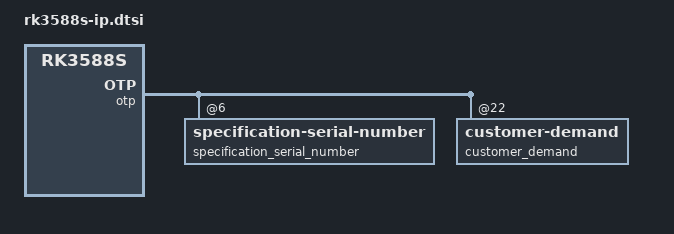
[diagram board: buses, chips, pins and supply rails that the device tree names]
/*
 * Copyright (c) 2021 Rockchip Electronics Co., Ltd.
 * Copyright (c) 2025 jjm2473 <jjm2473@gmail.com>
 */

/{
	rockchip_system_monitor: rockchip-system-monitor {
		compatible = "rockchip,system-monitor";

		rockchip,thermal-zone = "package-thermal";
		status = "disabled";
	};
};

&otp {
	specification_serial_number: specification-serial-number@6 {
		reg = <0x06 0x1>;
		bits = <0 5>;
	};
	customer_demand: customer-demand@22 {
		reg = <0x22 0x1>;
		bits = <4 4>;
	};
};

#include "rk3588s-vpu.dtsi"
#include "rk3588s-gpu.dtsi"
#include "rk3588s-npu.dtsi"
#include "rk3588s-crypto.dtsi"
